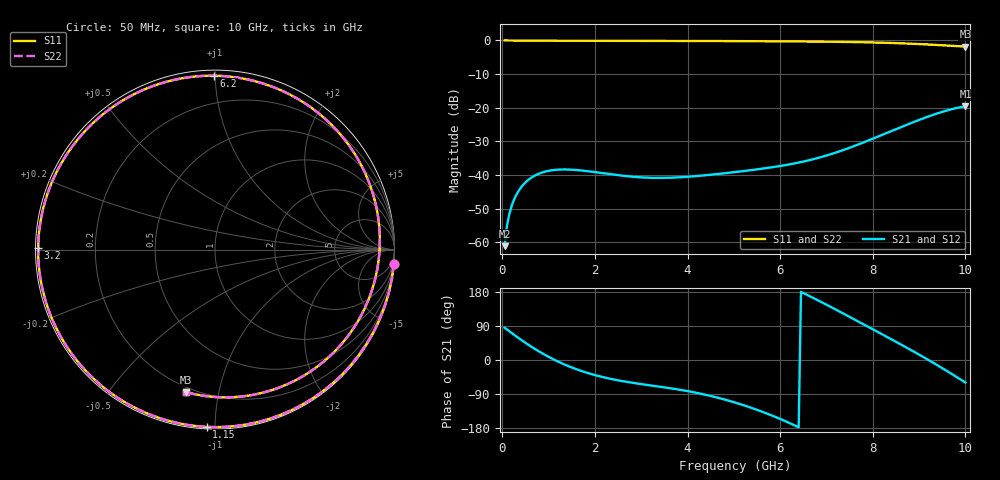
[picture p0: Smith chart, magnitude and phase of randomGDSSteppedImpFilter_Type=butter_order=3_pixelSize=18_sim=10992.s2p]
! freq	dB(S11)	phase(S11)	dB(S12)	phase(S12)
!  dB(S21)	phase(S21)	dB(S22)	phase(S22)
!S-par simulation data
#  GHz  S  DB  R 50
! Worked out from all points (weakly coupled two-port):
!   200 points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, 50 MHz to 10 GHz, reference 50 ohm
!   highest |S21| = -19.55 dB at 10 GHz (marker M1); lowest = -61.2 dB at 50 MHz (marker M2)
!   lowest |S11| = -1.8 dB at 10 GHz (marker M3), VSWR 9.55, Z = 8.68 - j40.2 ohm
!   |S11| at or under -10 dB: nowhere
!   |S22| runs from -1.8 to 0.0 dB; largest |S21 - S12| = 0
!   S11 on the Smith chart (normalised r, x): 50 MHz: 0, -25; 1.15 GHz: 0.01, -0.95; 3.2 GHz: 0.01, +0.00; 6.2 GHz: 0.03, +0.99; 10 GHz: 0.17, -0.80
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0.05  -0.00 -4.7  -61.15 85.3  -61.15 85.3  -0.00 -4.7
0.1  -0.01 -9.3  -55.16 80.7  -55.16 80.7  -0.01 -9.3
0.15  -0.02 -13.9  -51.69 76.0  -51.69 76.0  -0.02 -13.9
0.35  -0.05 -31.8  -44.77 58.1  -44.77 58.1  -0.05 -31.8
0.75  -0.08 -64.8  -39.84 25.7  -39.84 25.7  -0.08 -64.8
1.15  -0.10 -92.7  -38.46 -1.0  -38.46 -1.0  -0.10 -92.7
1.75  -0.11 -125.7  -38.71 -30.7  -38.71 -30.7  -0.11 -125.7
2.4  -0.12 -153.2  -39.88 -51.3  -39.88 -51.3  -0.12 -153.2
3.2  -0.13 179.6  -40.82 -67.0  -40.82 -67.0  -0.13 179.6
3.4  -0.13 173.4  -40.86 -70.4  -40.86 -70.4  -0.13 173.4
4.2  -0.16 149.9  -40.31 -86.8  -40.31 -86.8  -0.16 149.9
5.05  -0.19 125.5  -39.09 -113.1  -39.09 -113.1  -0.19 125.5
5.65  -0.23 107.7  -38.05 -138.3  -38.05 -138.3  -0.23 107.6
6.2  -0.27 90.3  -36.84 -166.2  -36.84 -166.2  -0.27 90.2
6.7  -0.33 73.2  -35.35 164.7  -35.35 164.7  -0.33 73.2
7.5  -0.46 42.5  -31.90 113.8  -31.90 113.8  -0.46 42.4
7.95  -0.58 22.8  -29.49 84.4  -29.49 84.4  -0.58 22.7
8.35  -0.72 3.3  -27.22 58.1  -27.22 58.1  -0.72 3.3
8.75  -0.92 -18.1  -24.97 31.4  -24.97 31.4  -0.92 -18.2
9.1  -1.14 -38.9  -23.11 7.3  -23.11 7.3  -1.14 -39.0
9.6  -1.51 -72.0  -20.82 -28.9  -20.82 -28.9  -1.51 -72.1
10  -1.83 -101.4  -19.55 -59.5  -19.55 -59.5  -1.83 -101.5
